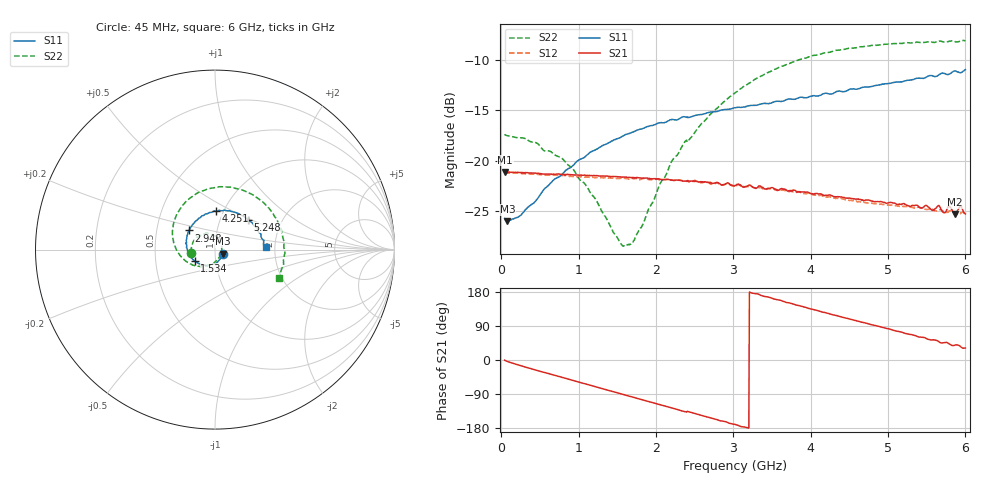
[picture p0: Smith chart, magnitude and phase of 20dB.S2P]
! C:\Users\Aljaz\OneDrive - Univerza v Ljubljani\DOKTORAT\NOVI SA\Slabilec PE43711B\meritve\prototip2\20dB.S2P
! Touchstone 1.1 file saved by VNA.EXE V1.65 (www.ke5fx.com/gpib/readme.htm)
! 18. 04. 2022 18:11:41
!  Source: HP8510C.07.14: Aug 26  1998
!  Min freq: 4.500000E+007 Hz
!  Max freq: 6.000000E+009 Hz
!  Points: 801
!  Params: S11 S21 S12 S22
# GHZ S DB R 50
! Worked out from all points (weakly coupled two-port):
!   801 points, 45 MHz to 6 GHz, reference 50 ohm
!   highest |S21| = -21.13 dB at 52.44 MHz (marker M1); lowest = -25.3 dB at 5.866 GHz (marker M2)
!   lowest |S11| = -26.0 dB at 82.22 MHz (marker M3), VSWR 1.11, Z = 54.6 - j2.45 ohm
!   |S11| at or under -10 dB: start of sweep to end of sweep
!   |S22| runs from -28.5 to -8.1 dB; largest |S21 - S12| = 0.0052
!   S11 on the Smith chart (normalised r, x): 45 MHz: 1.09, -0.05; 1.534 GHz: 0.79, -0.10; 2.948 GHz: 0.73, +0.16; 4.251 GHz: 0.92, +0.41; 5.248 GHz: 1.35, +0.48; 6 GHz: 1.78, +0.05
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0.045  -25.73 -28.9  -21.14 -0.6  -21.27 -0.7  -17.39 -173.0
0.05244375  -25.86 -27.3  -21.13 -1.5  -21.24 -1.6  -17.47 -175.1
0.08221875  -26.00 -26.5  -21.13 -4.0  -21.25 -4.0  -17.54 179.4
0.2459813  -25.45 -45.2  -21.18 -14.4  -21.25 -14.4  -17.75 162.4
0.7670438  -21.51 -101.2  -21.36 -44.7  -21.47 -44.8  -19.67 120.4
1.042463  -19.80 -121.0  -21.45 -60.4  -21.62 -60.4  -22.04 94.4
1.53375  -17.75 -151.1  -21.63 -88.5  -21.76 -87.8  -28.07 18.0
1.704956  -17.17 -160.4  -21.68 -98.2  -21.78 -97.3  -28.06 -30.4
2.032481  -16.29 -176.5  -21.79 -116.9  -21.85 -116.4  -22.63 -94.0
2.36745  -15.67 167.9  -22.03 -135.8  -21.99 -135.5  -18.22 -129.2
2.948062  -14.90 143.6  -22.28 -166.9  -22.34 -166.8  -13.74 -174.9
3.0225  -14.77 140.4  -22.47 -169.9  -22.52 -170.4  -13.30 179.5
3.506344  -14.25 119.6  -22.67 162.3  -22.79 162.1  -11.09 143.6
4.019963  -13.60 98.5  -23.30 133.9  -23.32 133.3  -9.63 107.2
4.250719  -13.43 89.0  -23.39 121.4  -23.57 121.0  -9.27 91.3
4.637794  -12.85 71.2  -23.85 101.0  -24.07 100.9  -8.74 65.1
5.009981  -12.38 54.1  -24.16 82.4  -24.42 82.2  -8.48 40.4
5.248181  -12.06 42.2  -24.42 69.0  -24.53 70.0  -8.35 24.9
5.531044  -11.60 27.4  -24.65 54.0  -24.83 55.9  -8.25 6.4
5.866013  -11.14 10.4  -25.32 39.2  -25.25 38.3  -8.23 -15.1
5.933006  -11.30 6.6  -24.51 36.0  -25.26 37.5  -8.18 -20.5
6  -11.00 2.4  -25.28 31.7  -25.22 33.1  -8.18 -23.7
